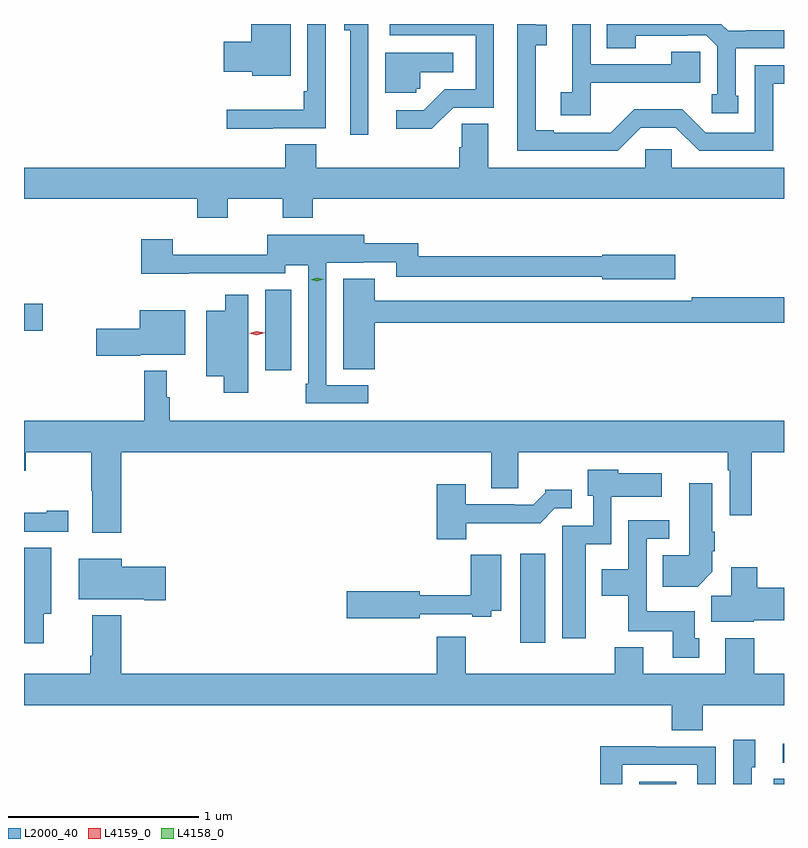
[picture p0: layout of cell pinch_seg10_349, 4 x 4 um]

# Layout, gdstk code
import gdstk
lib = gdstk.Library(unit=1e-6, precision=1e-09)
def R(c, l, rs):  # rectangles x0, y0, x1, y1
    for r in rs: c.add(gdstk.rectangle(r[:2], r[2:], *l))
def P(c, l, *ps):  # polygons
    for p in ps: c.add(gdstk.Polygon(p, *l))
L2000_40 = (2000, 40)
L4158_0 = (4158, 0)
L4159_0 = (4159, 0)

pinch_seg10_349 = lib.new_cell('pinch_seg10_349')
R(pinch_seg10_349, L2000_40, [(482.336,1255.945,482.533,1255.957), (483.044,1255.945,483.099,1255.973), (483.093,1256.058,483.099,1256.156), (481.712,1256.688,481.843,1257.157), (480.368,1258.122,480.505,1258.547), (479.099,1258.33,479.197,1258.472)])
P(pinch_seg10_349, L2000_40, [(480.502,1259.945),(480.296,1259.945),(480.296,1259.851),(480.15,1259.851),(480.15,1259.693),(480.3,1259.693),(480.3,1259.672),(480.502,1259.672)],
  [(482.857,1259.568),(482.844,1259.568),(482.844,1259.817),(483.099,1259.817),(483.099,1259.913),(482.899,1259.913),(482.899,1259.91),(482.805,1259.91),(482.77,1259.945),(482.167,1259.945),(482.167,1259.818),(482.319,1259.818),(482.319,1259.883),(482.591,1259.883),(482.591,1259.886),(482.691,1259.886),(482.748,1259.829),(482.748,1259.574),(482.718,1259.574),(482.718,1259.475),(482.857,1259.475)],
  [(481.359,1259.505),(481.572,1259.505),(481.572,1259.945),(481.023,1259.945),(481.023,1259.886),(481.476,1259.886),(481.476,1259.601),(481.314,1259.601),(481.203,1259.49),(481.059,1259.49),(481.059,1259.393),(481.246,1259.393)],
  [(480.912,1259.945),(480.785,1259.945),(480.785,1259.912),(480.816,1259.912),(480.816,1259.361),(480.912,1259.361)],
  [(482.346,1259.4),(482.529,1259.4),(482.652,1259.277),(483.042,1259.277),(483.042,1259.631),(483.099,1259.631),(483.099,1259.727),(482.946,1259.727),(482.946,1259.373),(482.688,1259.373),(482.564,1259.497),(482.31,1259.497),(482.186,1259.373),(481.888,1259.373),(481.888,1259.386),(481.792,1259.386),(481.792,1259.832),(481.849,1259.832),(481.849,1259.942),(481.793,1259.942),(481.793,1259.945),(481.695,1259.945),(481.695,1259.277),(482.223,1259.277)],
  [(480.409,1259.397),(480.687,1259.397),(480.687,1259.945),(480.591,1259.945),(480.591,1259.59),(480.571,1259.59),(480.571,1259.494),(480.165,1259.494),(480.165,1259.393),(480.409,1259.393)],
  [(482.082,1259.636),(482.549,1259.636),(482.549,1259.637),(482.659,1259.637),(482.659,1259.798),(482.506,1259.798),(482.506,1259.733),(482.082,1259.733),(482.082,1259.945),(481.985,1259.945),(481.985,1259.586),(481.923,1259.586),(481.923,1259.466),(482.082,1259.466)],
  [(481.164,1259.604),(481.185,1259.604),(481.185,1259.69),(481.357,1259.69),(481.357,1259.794),(481.001,1259.794),(481.001,1259.583),(481.164,1259.583)],
  [(480.171,1259.024),(480.46,1259.024),(480.46,1258.925),(480.62,1258.925),(480.62,1259.024),(483.099,1259.024),(483.099,1259.188),(482.508,1259.188),(482.508,1259.286),(482.37,1259.286),(482.37,1259.188),(481.543,1259.188),(481.543,1259.42),(481.404,1259.42),(481.404,1259.297),(481.391,1259.297),(481.391,1259.188),(480.638,1259.188),(480.638,1259.312),(480.473,1259.312),(480.473,1259.188),(479.099,1259.188),(479.099,1259.024),(480.011,1259.024),(480.011,1258.925),(480.171,1258.925)],
  [(480.91,1258.044),(480.69,1258.044),(480.69,1258.688),(480.885,1258.688),(480.885,1258.692),(481.059,1258.692),(481.059,1258.614),(482.142,1258.614),(482.142,1258.601),(482.527,1258.601),(482.527,1258.731),(482.142,1258.731),(482.142,1258.723),(481.175,1258.723),(481.175,1258.791),(480.889,1258.791),(480.889,1258.837),(480.378,1258.837),(480.378,1258.73),(479.882,1258.73),(479.882,1258.813),(479.717,1258.813),(479.717,1258.631),(479.965,1258.631),(479.965,1258.632),(480.474,1258.632),(480.474,1258.676),(480.594,1258.676),(480.594,1258.051),(480.582,1258.051),(480.582,1257.948),(480.91,1257.948)],
  [(480.946,1258.372),(483.099,1258.372),(483.099,1258.508),(482.614,1258.508),(482.614,1258.488),(480.946,1258.488),(480.946,1258.603),(480.779,1258.603),(480.779,1258.129),(480.946,1258.129)],
  [(480.28,1258.519),(480.158,1258.519),(480.158,1258.435),(480.059,1258.435),(480.059,1258.091),(480.151,1258.091),(480.151,1258.005),(480.28,1258.005)],
  [(479.712,1258.205),(479.947,1258.205),(479.947,1258.438),(479.708,1258.438),(479.708,1258.34),(479.478,1258.34),(479.478,1258.198),(479.712,1258.198)],
  [(479.612,1257.692),(481.559,1257.692),(481.559,1257.502),(481.699,1257.502),(481.699,1257.692),(482.802,1257.692),(482.802,1257.596),(482.814,1257.596),(482.814,1257.36),(482.93,1257.36),(482.93,1257.692),(483.099,1257.692),(483.099,1257.856),(479.867,1257.856),(479.867,1257.98),(479.849,1257.98),(479.849,1258.12),(479.732,1258.12),(479.732,1257.856),(479.099,1257.856),(479.099,1257.593),(479.109,1257.593),(479.109,1257.692),(479.452,1257.692),(479.452,1257.488),(479.459,1257.488),(479.459,1257.267),(479.612,1257.267)],
  [(482.056,1257.206),(482.19,1257.206),(482.19,1257.458),(482.455,1257.458),(482.455,1257.58),(482.226,1257.58),(482.226,1257.598),(482.066,1257.598),(482.066,1257.462),(482.094,1257.462),(482.094,1257.303),(481.931,1257.303),(481.931,1256.712),(482.056,1256.712)],
  [(482.722,1257.062),(482.722,1257.169),(482.735,1257.169),(482.735,1257.272),(482.722,1257.272),(482.722,1257.529),(482.6,1257.529),(482.6,1257.148),(482.461,1257.148),(482.461,1256.984),(482.644,1256.984)],
  [(481.426,1257.318),(481.815,1257.318),(481.893,1257.396),(481.981,1257.396),(481.981,1257.493),(481.842,1257.493),(481.842,1257.478),(481.778,1257.414),(481.679,1257.414),(481.679,1257.417),(481.423,1257.417),(481.423,1257.523),(481.271,1257.523),(481.271,1257.233),(481.426,1257.233)],
  [(479.332,1257.382),(479.219,1257.382),(479.219,1257.372),(479.099,1257.372),(479.099,1257.273),(479.332,1257.273)],
  [(482.653,1256.712),(482.629,1256.712),(482.629,1256.854),(482.376,1256.854),(482.376,1257.237),(482.494,1257.237),(482.494,1257.333),(482.28,1257.333),(482.28,1257.076),(482.141,1257.076),(482.141,1256.936),(482.278,1256.936),(482.278,1256.75),(482.513,1256.75),(482.513,1256.61),(482.653,1256.61)],
  [(479.203,1256.84),(479.242,1256.84),(479.242,1257.188),(479.099,1257.188),(479.099,1256.685),(479.203,1256.685)],
  [(481.182,1256.838),(481.457,1256.838),(481.457,1256.826),(481.557,1256.826),(481.557,1256.858),(481.612,1256.858),(481.612,1257.151),(481.45,1257.151),(481.45,1256.939),(481.182,1256.939),(481.182,1256.96),(480.798,1256.96),(480.798,1256.818),(481.182,1256.818)],
  [(479.845,1257.089),(479.614,1257.089),(479.614,1257.13),(479.387,1257.13),(479.387,1256.918),(479.732,1256.918),(479.732,1256.911),(479.845,1256.911)],
  [(482.94,1256.807),(483.099,1256.807),(483.099,1256.978),(482.957,1256.978),(482.957,1257.085),(482.822,1257.085),(482.822,1256.936),(482.717,1256.936),(482.717,1256.798),(482.94,1256.798)],
  [(482.672,1256.36),(483.099,1256.36),(483.099,1256.524),(482.942,1256.524),(482.942,1256.713),(482.789,1256.713),(482.789,1256.524),(482.359,1256.524),(482.359,1256.665),(482.207,1256.665),(482.207,1256.524),(481.423,1256.524),(481.423,1256.719),(481.271,1256.719),(481.271,1256.524),(479.612,1256.524),(479.612,1256.833),(479.459,1256.833),(479.459,1256.62),(479.447,1256.62),(479.447,1256.524),(479.099,1256.524),(479.099,1256.36),(482.507,1256.36),(482.507,1256.227),(482.672,1256.227)],
  [(482.928,1256.034),(482.947,1256.034),(482.947,1256.179),(482.832,1256.179),(482.832,1255.945),(482.928,1255.945)],
  [(482.247,1256.046),(482.643,1256.046),(482.643,1255.945),(482.739,1255.945),(482.739,1256.142),(482.423,1256.142),(482.423,1256.144),(482.131,1256.144),(482.131,1255.945),(482.247,1255.945)])
P(pinch_seg10_349, L4158_0, [(480.642,1258.59),(480.607,1258.599),(480.607,1258.6),(480.607,1258.6),(480.641,1258.61),(480.676,1258.601),(480.676,1258.601),(480.676,1258.601)])
P(pinch_seg10_349, L4159_0, [(480.325,1258.308),(480.285,1258.317),(480.285,1258.317),(480.285,1258.317),(480.325,1258.328),(480.365,1258.319),(480.365,1258.319),(480.365,1258.319)])

lib.write_gds('pinch_seg10_349.gds')
